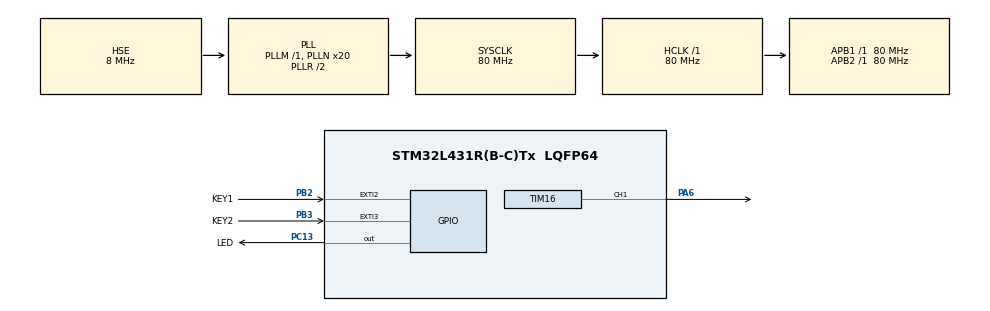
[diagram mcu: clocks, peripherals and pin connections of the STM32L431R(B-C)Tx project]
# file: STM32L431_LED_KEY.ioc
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Mcu.Family=STM32L4
Mcu.Name=STM32L431R(B-C)Tx
Mcu.Package=LQFP64
NVIC.EXTI2_IRQn=true\:0\:0\:false\:false\:true\:true\:true
NVIC.EXTI3_IRQn=true\:0\:0\:false\:false\:true\:true\:true
NVIC.PriorityGroup=NVIC_PRIORITYGROUP_4
NVIC.TIM2_IRQn=true\:0\:0\:false\:false\:true\:true\:true
PA6.Signal=S_TIM16_CH1
PB2.GPIO_Label=KEY1
PB2.GPIO_PuPd=GPIO_PULLUP
PB2.Signal=GPXTI2
PB3\ (JTDO-TRACESWO).GPIO_Label=KEY2
PB3\ (JTDO-TRACESWO).GPIO_PuPd=GPIO_PULLUP
PB3\ (JTDO-TRACESWO).Signal=GPXTI3
PC13.GPIO_Label=LED
PC13.Signal=GPIO_Output
PC14-OSC32_IN\ (PC14).Mode=LSE-External-Oscillator
PC14-OSC32_IN\ (PC14).Signal=RCC_OSC32_IN
PC15-OSC32_OUT\ (PC15).Mode=LSE-External-Oscillator
PC15-OSC32_OUT\ (PC15).Signal=RCC_OSC32_OUT
PH0-OSC_IN\ (PH0).Mode=HSE-External-Oscillator
PH0-OSC_IN\ (PH0).Signal=RCC_OSC_IN
PH1-OSC_OUT\ (PH1).Mode=HSE-External-Oscillator
PH1-OSC_OUT\ (PH1).Signal=RCC_OSC_OUT
ProjectManager.HeapSize=0x200
ProjectManager.StackSize=0x400
ProjectManager.TargetToolchain=MDK-ARM V5
RCC.ADCFreq_Value=32000000
RCC.AHBFreq_Value=80000000
RCC.APB1Freq_Value=80000000
RCC.APB1TimFreq_Value=80000000
RCC.APB2Freq_Value=80000000
RCC.APB2TimFreq_Value=80000000
RCC.CortexFreq_Value=80000000
RCC.HCLKFreq_Value=80000000
RCC.HSE_VALUE=8000000
RCC.HSI48_VALUE=48000000
RCC.HSI_VALUE=16000000
RCC.MSI_VALUE=4000000
RCC.PLLN=20
RCC.PLLSourceVirtual=RCC_PLLSOURCE_HSE
RCC.SYSCLKFreq_VALUE=80000000
RCC.SYSCLKSource=RCC_SYSCLKSOURCE_PLLCLK
RCC.VCOOutputFreq_Value=160000000
SH.S_TIM16_CH1.0=TIM16_CH1,PWM Generation1 CH1
TIM16.Channel=TIM_CHANNEL_1
TIM16.Period=499
TIM16.Prescaler=79
TIM2.Period=1000-1
TIM2.Prescaler=40000-1
VP_TIM16_VS_ClockSourceINT.Mode=Enable_Timer
VP_TIM2_VS_ClockSourceINT.Mode=Internal
board=custom

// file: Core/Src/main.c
/* USER CODE BEGIN Header */
/**
  ******************************************************************************
  * @file           : main.c
  * @brief          : Main program body
  ******************************************************************************
  * @attention
  *
  * <h2><center>&copy; Copyright (c) 2021 STMicroelectronics.
  * All rights reserved.</center></h2>
  *
  * This software component is licensed by ST under BSD 3-Clause license,
  * the "License"; You may not use this file except in compliance with the
  * License. You may obtain a copy of the License at:
  *                        opensource.org/licenses/BSD-3-Clause
  *
  ******************************************************************************
  */
/* USER CODE END Header */
#include "main.h"
#include "tim.h"
#include "gpio.h"

/* USER CODE BEGIN PTD */
uint16_t pwmVal=0;
/* USER CODE END PTD */

void SystemClock_Config(void);

int main(void)
{

  /* MCU Configuration--------------------------------------------------------*/

  /* Reset of all peripherals, Initializes the Flash interface and the Systick. */
  HAL_Init();

  /* Configure the system clock */
  SystemClock_Config();

  /* Initialize all configured peripherals */
  MX_GPIO_Init();
  MX_TIM2_Init();
  MX_TIM16_Init();
  /* USER CODE BEGIN 2 */
	HAL_TIM_PWM_Start(&htim16,TIM_CHANNEL_1);
  /* USER CODE END 2 */

  /* Infinite loop */
  while (1)
  {

    /* USER CODE BEGIN 3 */
		while (pwmVal < 500) {
		  pwmVal++;
	 	  __HAL_TIM_SetCompare(&htim16, TIM_CHANNEL_1, pwmVal);    //修改比较值，修改占空比
	 //		  TIM3->CCR1 = pwmVal;    与上方相????
	 	  HAL_Delay(6);
	  }

	  while (pwmVal) {
		  pwmVal--;
		  __HAL_TIM_SetCompare(&htim16, TIM_CHANNEL_1, pwmVal);    //修改比较值，修改占空比
	 //		  TIM3->CCR1 = pwmVal;     与上方相????
		  HAL_Delay(6);
	  }
  }
  /* USER CODE END 3 */
}

void SystemClock_Config(void)
{
  RCC_OscInitTypeDef RCC_OscInitStruct = {0};
  RCC_ClkInitTypeDef RCC_ClkInitStruct = {0};

  /** Initializes the RCC Oscillators according to the specified parameters
  * in the RCC_OscInitTypeDef structure.
  */
  RCC_OscInitStruct.OscillatorType = RCC_OSCILLATORTYPE_HSE;
  RCC_OscInitStruct.HSEState = RCC_HSE_ON;
  RCC_OscInitStruct.PLL.PLLState = RCC_PLL_ON;
  RCC_OscInitStruct.PLL.PLLSource = RCC_PLLSOURCE_HSE;
  RCC_OscInitStruct.PLL.PLLM = 1;
  RCC_OscInitStruct.PLL.PLLN = 20;
  RCC_OscInitStruct.PLL.PLLP = RCC_PLLP_DIV7;
  RCC_OscInitStruct.PLL.PLLQ = RCC_PLLQ_DIV2;
  RCC_OscInitStruct.PLL.PLLR = RCC_PLLR_DIV2;
  if (HAL_RCC_OscConfig(&RCC_OscInitStruct) != HAL_OK)
  {
    Error_Handler();
  }
  /** Initializes the CPU, AHB and APB buses clocks
  */
  RCC_ClkInitStruct.ClockType = RCC_CLOCKTYPE_HCLK|RCC_CLOCKTYPE_SYSCLK
                              |RCC_CLOCKTYPE_PCLK1|RCC_CLOCKTYPE_PCLK2;
  RCC_ClkInitStruct.SYSCLKSource = RCC_SYSCLKSOURCE_PLLCLK;
  RCC_ClkInitStruct.AHBCLKDivider = RCC_SYSCLK_DIV1;
  RCC_ClkInitStruct.APB1CLKDivider = RCC_HCLK_DIV1;
  RCC_ClkInitStruct.APB2CLKDivider = RCC_HCLK_DIV1;

  if (HAL_RCC_ClockConfig(&RCC_ClkInitStruct, FLASH_LATENCY_4) != HAL_OK)
  {
    Error_Handler();
  }
  /** Configure the main internal regulator output voltage
  */
  if (HAL_PWREx_ControlVoltageScaling(PWR_REGULATOR_VOLTAGE_SCALE1) != HAL_OK)
  {
    Error_Handler();
  }
}

/* USER CODE BEGIN 4 */
void HAL_GPIO_EXTI_Callback(uint16_t GPIO_Pin)//外部中断回调函数
{
	/*
  if(GPIO_Pin==KEY1_Pin)//??????????测是否为外部中断2
	{
	   HAL_GPIO_TogglePin(LED_GPIO_Port,LED_Pin);
	}
	if(GPIO_Pin==KEY2_Pin)//??????????测是否为外部中断3
	{
		HAL_GPIO_TogglePin(LED_GPIO_Port,LED_Pin);
		HAL_Delay(1000); //在中断服务函数内，使用延时不合理，应该使用定时器进行延时。但是为?????????么延时函数不能执行，跟中断优先级有关?????????
		HAL_GPIO_TogglePin(LED_GPIO_Port,LED_Pin);

	   for (;;) {
		   HAL_GPIO_WritePin(LED_GPIO_Port,LED_Pin,GPIO_PIN_RESET);//led off
		   HAL_Delay(1000);
		   HAL_GPIO_WritePin(LED_GPIO_Port,LED_Pin,GPIO_PIN_SET);//led on
		   HAL_Delay(1000);
		   HAL_GPIO_TogglePin(LED_GPIO_Port,LED_Pin);
		   HAL_Delay(1000);
	   }
	}*/
	/* 判断哪个引脚触发了中?????????? */
		switch(GPIO_Pin)
		{
			case GPIO_PIN_2:
				/* 处理GPIO2发生的中?????????? */
				//点亮LED
				HAL_TIM_Base_Stop_IT(&htim2);
				HAL_GPIO_WritePin(LED_GPIO_Port,LED_Pin,GPIO_PIN_SET);
				break;
			case GPIO_PIN_3:
				/* 处理GPIO3发生的中?????????? */
				//熄灭LED
				//HAL_GPIO_WritePin(LED_GPIO_Port,LED_Pin,GPIO_PIN_RESET);
				HAL_TIM_Base_Start_IT(&htim2);//触发TIM2中断定时????????2Hz
				break;
			default:
				break;
		}
 }

void HAL_TIM_PeriodElapsedCallback(TIM_HandleTypeDef* tim_baseHandle)
{
	if (tim_baseHandle->Instance == htim2.Instance) {
    HAL_GPIO_TogglePin(LED_GPIO_Port, LED_Pin);
  }
}
/* USER CODE END 4 */

void Error_Handler(void)
{
  __disable_irq();
  while (1)
  {
  }
}

/************************ (C) COPYRIGHT STMicroelectronics *****END OF FILE****/
